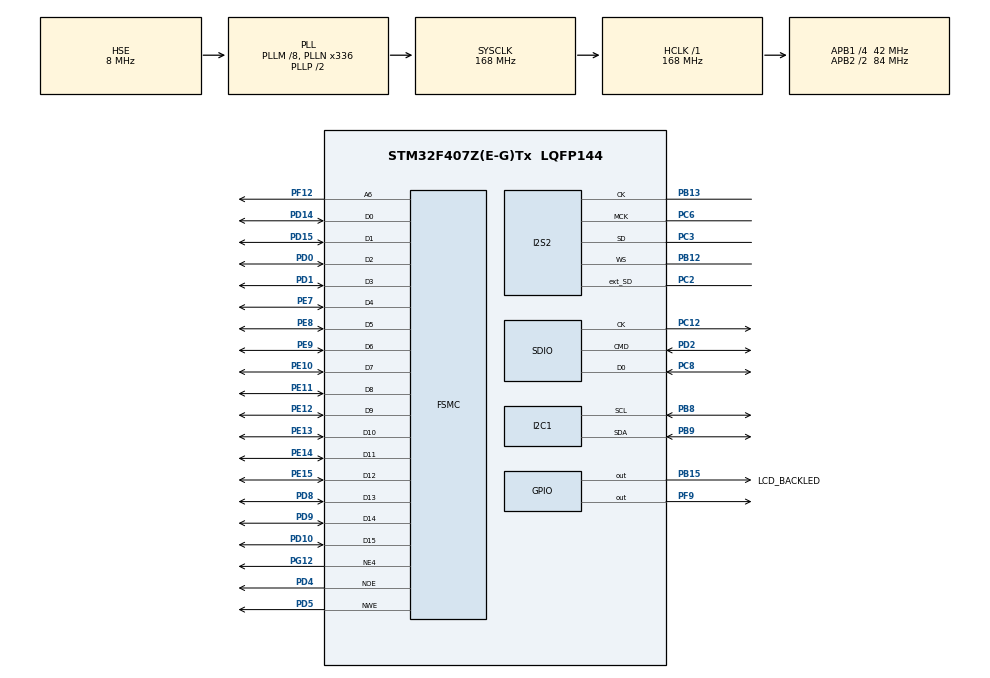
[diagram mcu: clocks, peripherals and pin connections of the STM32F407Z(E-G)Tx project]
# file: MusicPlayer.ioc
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Dma.Request0=SPI2_TX
Dma.Request1=SDIO_RX
Dma.Request2=SDIO_TX
Dma.SDIO_RX.1.Direction=DMA_PERIPH_TO_MEMORY
Dma.SDIO_RX.1.FIFOMode=DMA_FIFOMODE_ENABLE
Dma.SDIO_RX.1.FIFOThreshold=DMA_FIFO_THRESHOLD_FULL
Dma.SDIO_RX.1.Instance=DMA2_Stream3
Dma.SDIO_RX.1.MemBurst=DMA_MBURST_INC4
Dma.SDIO_RX.1.MemDataAlignment=DMA_MDATAALIGN_WORD
Dma.SDIO_RX.1.MemInc=DMA_MINC_ENABLE
Dma.SDIO_RX.1.Mode=DMA_PFCTRL
Dma.SDIO_RX.1.PeriphBurst=DMA_PBURST_INC4
Dma.SDIO_RX.1.PeriphDataAlignment=DMA_PDATAALIGN_WORD
Dma.SDIO_RX.1.PeriphInc=DMA_PINC_DISABLE
Dma.SDIO_RX.1.Priority=DMA_PRIORITY_LOW
Dma.SDIO_TX.2.Direction=DMA_MEMORY_TO_PERIPH
Dma.SDIO_TX.2.FIFOMode=DMA_FIFOMODE_ENABLE
Dma.SDIO_TX.2.FIFOThreshold=DMA_FIFO_THRESHOLD_FULL
Dma.SDIO_TX.2.Instance=DMA2_Stream6
Dma.SDIO_TX.2.MemBurst=DMA_MBURST_INC4
Dma.SDIO_TX.2.MemDataAlignment=DMA_MDATAALIGN_WORD
Dma.SDIO_TX.2.MemInc=DMA_MINC_ENABLE
Dma.SDIO_TX.2.Mode=DMA_PFCTRL
Dma.SDIO_TX.2.PeriphBurst=DMA_PBURST_INC4
Dma.SDIO_TX.2.PeriphDataAlignment=DMA_PDATAALIGN_WORD
Dma.SDIO_TX.2.PeriphInc=DMA_PINC_DISABLE
Dma.SDIO_TX.2.Priority=DMA_PRIORITY_LOW
Dma.SPI2_TX.0.Direction=DMA_MEMORY_TO_PERIPH
Dma.SPI2_TX.0.FIFOMode=DMA_FIFOMODE_DISABLE
Dma.SPI2_TX.0.Instance=DMA1_Stream4
Dma.SPI2_TX.0.MemDataAlignment=DMA_MDATAALIGN_HALFWORD
Dma.SPI2_TX.0.MemInc=DMA_MINC_ENABLE
Dma.SPI2_TX.0.Mode=DMA_CIRCULAR
Dma.SPI2_TX.0.PeriphDataAlignment=DMA_PDATAALIGN_HALFWORD
Dma.SPI2_TX.0.PeriphInc=DMA_PINC_DISABLE
Dma.SPI2_TX.0.Priority=DMA_PRIORITY_LOW
FATFS._USE_LFN=2
FREERTOS.Tasks01=defaultTask,24,128,StartDefaultTask,Default,NULL,Dynamic,NULL,NULL
FREERTOS.configTOTAL_HEAP_SIZE=3000
FSMC.BusTurnAroundDuration4=0
FSMC.DataSetupTime4=60
FSMC.ExtendedAddressSetupTime4=9
FSMC.ExtendedDataSetupTime4=8
FSMC.ExtendedMode4=FSMC_EXTENDED_MODE_ENABLE
I2S2.AudioFreq=I2S_AUDIOFREQ_44K
I2S2.ErrorAudioFreq=0.24 %
I2S2.FullDuplexMode=I2S_FULLDUPLEXMODE_ENABLE
I2S2.Instance=SPI$Index
I2S2.RealAudioFreq=44.108 KHz
I2S2.VirtualMode=I2S_MODE_MASTER
Mcu.Family=STM32F4
Mcu.Name=STM32F407Z(E-G)Tx
Mcu.Package=LQFP144
NVIC.DMA1_Stream4_IRQn=true\:5\:0\:false\:false\:true\:true\:false\:true\:true
NVIC.DMA2_Stream3_IRQn=true\:5\:0\:false\:false\:true\:true\:false\:true\:true
NVIC.DMA2_Stream6_IRQn=true\:5\:0\:false\:false\:true\:true\:false\:true\:true
NVIC.PriorityGroup=NVIC_PRIORITYGROUP_4
NVIC.SDIO_IRQn=true\:5\:0\:false\:false\:true\:true\:true\:true\:true
NVIC.TIM6_DAC_IRQn=true\:5\:0\:false\:false\:true\:true\:true\:true\:true
NVIC.TIM7_IRQn=true\:15\:0\:false\:false\:true\:false\:false\:true\:true
NVIC.TimeBase=TIM7_IRQn
NVIC.TimeBaseIP=TIM7
PA13.Mode=Serial_Wire
PA13.Signal=SYS_JTMS-SWDIO
PA14.Mode=Serial_Wire
PA14.Signal=SYS_JTCK-SWCLK
PB12.Mode=Full_Duplex_Master
PB12.Signal=I2S2_WS
PB13.Mode=Full_Duplex_Master
PB13.Signal=I2S2_CK
PB15.GPIO_Label=LCD_BACKLED
PB15.PinState=GPIO_PIN_SET
PB15.Signal=GPIO_Output
PB8.Mode=I2C
PB8.Signal=I2C1_SCL
PB9.Mode=I2C
PB9.Signal=I2C1_SDA
PC12.Mode=SD_1_bit
PC12.Signal=SDIO_CK
PC2.Mode=Full_Duplex_Master
PC2.Signal=I2S2_ext_SD
PC3.Mode=Full_Duplex_Master
PC3.Signal=I2S2_SD
PC6.Mode=Master_Clock_Activated
PC6.Signal=I2S2_MCK
PC8.Mode=SD_1_bit
PC8.Signal=SDIO_D0
PD0.Signal=FSMC_D2_DA2
PD1.Signal=FSMC_D3_DA3
PD10.Signal=FSMC_D15_DA15
PD14.Signal=FSMC_D0_DA0
PD15.Signal=FSMC_D1_DA1
PD2.Mode=SD_1_bit
PD2.Signal=SDIO_CMD
PD4.Signal=FSMC_NOE
PD5.Signal=FSMC_NWE
PD8.Signal=FSMC_D13_DA13
PD9.Signal=FSMC_D14_DA14
PE10.Signal=FSMC_D7_DA7
PE11.Signal=FSMC_D8_DA8
PE12.Signal=FSMC_D9_DA9
PE13.Signal=FSMC_D10_DA10
PE14.Signal=FSMC_D11_DA11
PE15.Signal=FSMC_D12_DA12
PE7.Signal=FSMC_D4_DA4
PE8.Signal=FSMC_D5_DA5
PE9.Signal=FSMC_D6_DA6
PF12.Signal=FSMC_A6
PF9.Signal=GPIO_Output
PG12.Mode=NorPsramChipSelect4_4
PG12.Signal=FSMC_NE4
PH0-OSC_IN.Mode=HSE-External-Oscillator
PH0-OSC_IN.Signal=RCC_OSC_IN
PH1-OSC_OUT.Mode=HSE-External-Oscillator
PH1-OSC_OUT.Signal=RCC_OSC_OUT
ProjectManager.HeapSize=0x1000
ProjectManager.StackSize=0x1000
ProjectManager.TargetToolchain=STM32CubeIDE
RCC.48MHZClocksFreq_Value=48000000
RCC.AHBFreq_Value=168000000
RCC.APB1CLKDivider=RCC_HCLK_DIV4
RCC.APB1Freq_Value=42000000
RCC.APB1TimFreq_Value=84000000
RCC.APB2CLKDivider=RCC_HCLK_DIV2
RCC.APB2Freq_Value=84000000
RCC.APB2TimFreq_Value=168000000
RCC.CortexFreq_Value=168000000
RCC.HCLKFreq_Value=168000000
RCC.HSE_VALUE=8000000
RCC.HSI_VALUE=16000000
RCC.LSE_VALUE=32768
RCC.PLLI2SN=271
RCC.PLLM=8
RCC.PLLN=336
RCC.PLLQ=7
RCC.PLLSourceVirtual=RCC_PLLSOURCE_HSE
RCC.SYSCLKFreq_VALUE=168000000
RCC.SYSCLKSource=RCC_SYSCLKSOURCE_PLLCLK
RCC.VCOOutputFreq_Value=336000000
SH.FSMC_A6.0=FSMC_A6,A6_4
SH.FSMC_D0_DA0.0=FSMC_D0,16b-d4
SH.FSMC_D10_DA10.0=FSMC_D10,16b-d4
SH.FSMC_D11_DA11.0=FSMC_D11,16b-d4
SH.FSMC_D12_DA12.0=FSMC_D12,16b-d4
SH.FSMC_D13_DA13.0=FSMC_D13,16b-d4
SH.FSMC_D14_DA14.0=FSMC_D14,16b-d4
SH.FSMC_D15_DA15.0=FSMC_D15,16b-d4
SH.FSMC_D1_DA1.0=FSMC_D1,16b-d4
SH.FSMC_D2_DA2.0=FSMC_D2,16b-d4
SH.FSMC_D3_DA3.0=FSMC_D3,16b-d4
SH.FSMC_D4_DA4.0=FSMC_D4,16b-d4
SH.FSMC_D5_DA5.0=FSMC_D5,16b-d4
SH.FSMC_D6_DA6.0=FSMC_D6,16b-d4
SH.FSMC_D7_DA7.0=FSMC_D7,16b-d4
SH.FSMC_D8_DA8.0=FSMC_D8,16b-d4
SH.FSMC_D9_DA9.0=FSMC_D9,16b-d4
SH.FSMC_NOE.0=FSMC_NOE,Lcd4
SH.FSMC_NWE.0=FSMC_NWE,Lcd4
TIM6.AutoReloadPreload=TIM_AUTORELOAD_PRELOAD_ENABLE
TIM6.Period=999
TIM6.Prescaler=83
VP_FATFS_VS_SDIO.Mode=SDIO
VP_FREERTOS_VS_CMSIS_V2.Mode=CMSIS_V2
VP_SYS_VS_tim7.Mode=TIM7
VP_TIM6_VS_ClockSourceINT.Mode=Enable_Timer
board=custom

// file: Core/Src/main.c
/* USER CODE BEGIN Header */
/**
 ******************************************************************************
 * @file           : main.c
 * @brief          : Main program body
 ******************************************************************************
 * @attention
 *
 * Copyright (c) 2025 STMicroelectronics.
 * All rights reserved.
 *
 * This software is licensed under terms that can be found in the LICENSE file
 * in the root directory of this software component.
 * If no LICENSE file comes with this software, it is provided AS-IS.
 *
 ******************************************************************************
 */
/* USER CODE END Header */
#include "main.h"
#include "cmsis_os.h"
#include "dma.h"
#include "fatfs.h"
#include "i2c.h"
#include "i2s.h"
#include "sdio.h"
#include "tim.h"
#include "gpio.h"
#include "fsmc.h"

/* USER CODE BEGIN PV */
extern TIM_HandleTypeDef htim6, htim7;
/* USER CODE END PV */

void SystemClock_Config(void);
void MX_FREERTOS_Init(void);

int main(void)
{

    /* MCU Configuration--------------------------------------------------------*/

    /* Reset of all peripherals, Initializes the Flash interface and the Systick. */
    HAL_Init();

    /* Configure the system clock */
    SystemClock_Config();

    /* Initialize all configured peripherals */
    MX_GPIO_Init();
    MX_DMA_Init();
    MX_I2S2_Init();
    MX_I2C1_Init();
    MX_SDIO_SD_Init();
    MX_FATFS_Init();
    MX_FSMC_Init();
    MX_TIM6_Init();
    /* USER CODE BEGIN 2 */
    HAL_TIM_Base_Start_IT(&htim7);  // 必须先启动 TIM7，否则 HAL_Delay 会卡死
    /* USER CODE END 2 */

    /* Init scheduler */
    osKernelInitialize();

    /* Call init function for freertos objects (in cmsis_os2.c) */
    MX_FREERTOS_Init();

    /* Start scheduler */
    osKernelStart();

    /* We should never get here as control is now taken by the scheduler */

    /* Infinite loop */
    while (1)
    {

    }
}

void SystemClock_Config(void)
{
    RCC_OscInitTypeDef RCC_OscInitStruct = {0};
    RCC_ClkInitTypeDef RCC_ClkInitStruct = {0};

    /** Configure the main internal regulator output voltage
     */
    __HAL_RCC_PWR_CLK_ENABLE();
    __HAL_PWR_VOLTAGESCALING_CONFIG(PWR_REGULATOR_VOLTAGE_SCALE1);

    /** Initializes the RCC Oscillators according to the specified parameters
     * in the RCC_OscInitTypeDef structure.
     */
    RCC_OscInitStruct.OscillatorType = RCC_OSCILLATORTYPE_HSE;
    RCC_OscInitStruct.HSEState = RCC_HSE_ON;
    RCC_OscInitStruct.PLL.PLLState = RCC_PLL_ON;
    RCC_OscInitStruct.PLL.PLLSource = RCC_PLLSOURCE_HSE;
    RCC_OscInitStruct.PLL.PLLM = 8;
    RCC_OscInitStruct.PLL.PLLN = 336;
    RCC_OscInitStruct.PLL.PLLP = RCC_PLLP_DIV2;
    RCC_OscInitStruct.PLL.PLLQ = 7;
    if (HAL_RCC_OscConfig(&RCC_OscInitStruct) != HAL_OK)
    {
        Error_Handler();
    }

    /** Initializes the CPU, AHB and APB buses clocks
     */
    RCC_ClkInitStruct.ClockType = RCC_CLOCKTYPE_HCLK | RCC_CLOCKTYPE_SYSCLK | RCC_CLOCKTYPE_PCLK1 | RCC_CLOCKTYPE_PCLK2;
    RCC_ClkInitStruct.SYSCLKSource = RCC_SYSCLKSOURCE_PLLCLK;
    RCC_ClkInitStruct.AHBCLKDivider = RCC_SYSCLK_DIV1;
    RCC_ClkInitStruct.APB1CLKDivider = RCC_HCLK_DIV4;
    RCC_ClkInitStruct.APB2CLKDivider = RCC_HCLK_DIV2;

    if (HAL_RCC_ClockConfig(&RCC_ClkInitStruct, FLASH_LATENCY_5) != HAL_OK)
    {
        Error_Handler();
    }
}

/* USER CODE BEGIN 4 */
void HAL_TIM_PeriodElapsedCallback(TIM_HandleTypeDef *htim)
{
    // 判断是否是 TIM6 触发的中断
    if (htim->Instance == TIM6)
    {
        lv_tick_inc(1);  // 告诉 LVGL 过去了 1ms
    }
    // 判断是否是 TIM7 触发的中断（HAL 系统时基）
    if (htim->Instance == TIM7)
    {
        HAL_IncTick();  // 递增 HAL 系统 tick
    }
}

/* USER CODE END 4 */

void Error_Handler(void)
{
    __disable_irq();
    while (1)
    {
    }
}

#ifdef USE_FULL_ASSERT
/**
 * @brief  Reports the name of the source file and the source line number
 *         where the assert_param error has occurred.
 * @param  file: pointer to the source file name
 * @param  line: assert_param error line source number
 * @retval None
 */
void assert_failed(uint8_t *file, uint32_t line)
{
    /* USER CODE BEGIN 6 */
    /* User can add his own implementation to report the file name and line
       number, ex: printf("Wrong parameters value: file %s on line %d\r\n", file,
       line) */
    /* USER CODE END 6 */
}
#endif /* USE_FULL_ASSERT */

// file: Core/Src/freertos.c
/* USER CODE BEGIN Header */
/**
 ******************************************************************************
 * File Name          : freertos.c
 * Description        : Code for freertos applications
 ******************************************************************************
 * @attention
 *
 * Copyright (c) 2025 STMicroelectronics.
 * All rights reserved.
 *
 * This software is licensed under terms that can be found in the LICENSE file
 * in the root directory of this software component.
 * If no LICENSE file comes with this software, it is provided AS-IS.
 *
 ******************************************************************************
 */
/* USER CODE END Header */

#include "FreeRTOS.h"
#include "task.h"
#include "main.h"
#include "cmsis_os.h"

/* USER CODE BEGIN Includes */
#include "../APP/Player/music_player.h"
#include "../App/GUI/gui_app.h"
#include "../Gui/lvgl/lvgl.h"
#include "../Gui/lvgl_port/lv_port_disp.h"
#include "../Gui/lvgl_port/lv_port_indev.h"
#include "../Touch/touch.h"
#include "lcd.h"
#include "tim.h"

// 外部变量声明（来自 music_player.c）
/* USER CODE END Includes */

/* USER CODE BEGIN Variables */
extern TIM_HandleTypeDef htim6;
/* USER CODE END Variables */
/* Definitions for defaultTask */
osThreadId_t defaultTaskHandle;
const osThreadAttr_t defaultTask_attributes = {
    .name = "defaultTask",
    .stack_size = 1024 * 4,
    .priority = (osPriority_t)osPriorityAboveNormal,
};

/* Definitions for audioTask */
osThreadId_t audioTaskHandle;
const osThreadAttr_t audioTask_attributes = {
    .name = "audioTask",
    .stack_size = 1536 * 4,
    .priority = (osPriority_t)osPriorityHigh,
};

void StartDefaultTask(void *argument);
void StartAudioTask(void *argument);

void MX_FREERTOS_Init(void); /* (MISRA C 2004 rule 8.1) */

void MX_FREERTOS_Init(void)
{

    /* Create the thread(s) */
    /* creation of defaultTask */
    defaultTaskHandle = osThreadNew(StartDefaultTask, NULL, &defaultTask_attributes);

    /* creation of audioTask */
    audioTaskHandle = osThreadNew(StartAudioTask, NULL, &audioTask_attributes);

}

void StartDefaultTask(void *argument)
{
    /* USER CODE BEGIN StartDefaultTask */
    HAL_Delay(100);  // Wait for power stability
    lcd_init();
    lv_init();
    lv_port_disp_init();

    // Initialize touch screen hardware
    tp_init();

    // Initialize LVGL input device
    lv_port_indev_init();

    HAL_TIM_Base_Start_IT(&htim6);
    music_player_init();
    gui_app_init();

    lv_task_handler();
    osDelay(10);

    /* Infinite loop */
    for (;;)
    {
        lv_task_handler();  // Handle LVGL tasks
        osDelay(5);         // Delay 5ms
    }
    /* USER CODE END StartDefaultTask */
}

/* USER CODE BEGIN Application */
void StartAudioTask(void *argument)
{
    Music_Event event;
    while (1)
    {
        if (osMessageQueueGet(music_eventQueueHandle, &event, NULL, 0) == osOK)
        {
            switch (event.type)
            {
                case MUSIC_RELOAD:
                    music_player_process_song();
                    break;
                case MUSIC_PAUSE:
                    music_player_pause();
                    break;
                case MUSIC_RESUME:
                    music_player_resume();
                    break;
                case MUSIC_STOP:
                    music_player_stop();
                    break;
                case MUSIC_SET_HEADPHONE_VOL:
                    music_player_set_headphone_volume(event.param);
                    break;
                case MUSIC_SET_SPEAKER_VOL:
                    music_player_set_speaker_volume(event.param);
                    break;
                case MUSIC_NEXT:
                    music_player_set_currentIndex(music_player_get_currentIndex() + 1);
                    music_player_process_song();
                    break;
                case MUSIC_PREV:
                    music_player_set_currentIndex(music_player_get_currentIndex() - 1);
                    music_player_process_song();
                    break;
                default:
                    break;
            }
        }

        // 2. 维持音频播放 (填充数据)
        music_player_update();

        // 3. 稍微让出 CPU
        if (!isPlaying)
        {
            osDelay(10);
        }
    }
}
/* USER CODE END Application */
